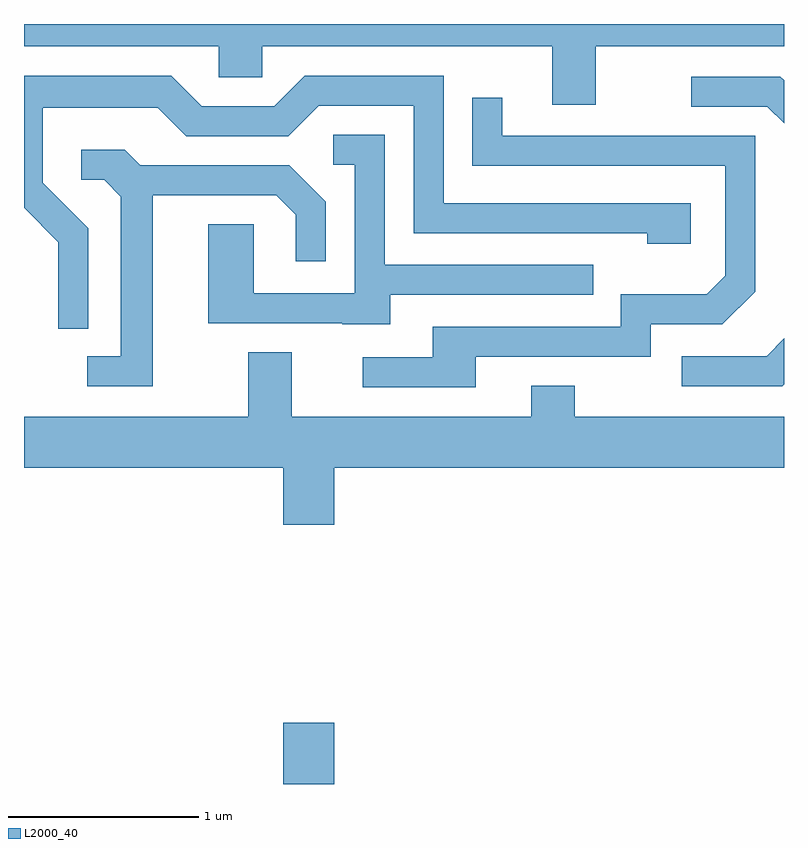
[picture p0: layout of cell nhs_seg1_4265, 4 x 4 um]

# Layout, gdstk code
import gdstk
lib = gdstk.Library(unit=1e-6, precision=1e-09)
def R(c, l, rs):  # rectangles x0, y0, x1, y1
    for r in rs: c.add(gdstk.rectangle(r[:2], r[2:], *l))
def P(c, l, *ps):  # polygons
    for p in ps: c.add(gdstk.Polygon(p, *l))
L2000_40 = (2000, 40)

nhs_seg1_4265 = lib.new_cell('nhs_seg1_4265')
R(nhs_seg1_4265, L2000_40, [(314.976,875.712,315.244,876.034)])
P(nhs_seg1_4265, L2000_40, [(316.619,879.596),(317.611,879.596),(317.611,879.712),(313.611,879.712),(313.611,879.596),(314.636,879.596),(314.636,879.431),(314.864,879.431),(314.864,879.596),(316.391,879.596),(316.391,879.286),(316.619,879.286)],
  [(313.949,878.637),(313.709,878.877),(313.709,879.271),(314.314,879.271),(314.464,879.121),(315.002,879.121),(315.162,879.281),(315.661,879.281),(315.661,878.611),(316.891,878.611),(316.891,878.556),(317.119,878.556),(317.119,878.769),(315.819,878.769),(315.819,879.439),(315.089,879.439),(314.929,879.279),(314.547,879.279),(314.387,879.439),(313.611,879.439),(313.611,878.744),(313.791,878.564),(313.791,878.108),(313.949,878.108)],
  [(317.611,879.415),(317.592,879.434),(317.123,879.434),(317.123,879.276),(317.524,879.276),(317.611,879.189)],
  [(315.989,877.961),(316.909,877.961),(316.909,878.131),(317.287,878.131),(317.459,878.304),(317.459,879.124),(316.129,879.124),(316.129,879.323),(315.971,879.323),(315.971,878.966),(317.301,878.966),(317.301,878.387),(317.204,878.289),(316.751,878.289),(316.751,878.119),(315.761,878.119),(315.761,877.959),(315.393,877.959),(315.393,877.801),(315.989,877.801)],
  [(315.539,878.286),(316.608,878.286),(316.608,878.444),(315.509,878.444),(315.509,879.129),(315.238,879.129),(315.238,878.971),(315.351,878.971),(315.351,878.294),(314.819,878.294),(314.819,878.659),(314.581,878.659),(314.581,878.136),(315.285,878.136),(315.285,878.131),(315.539,878.131)],
  [(314.289,878.811),(314.939,878.811),(315.041,878.709),(315.041,878.463),(315.199,878.463),(315.199,878.777),(315.007,878.969),(314.222,878.969),(314.142,879.049),(313.913,879.049),(313.913,878.891),(314.034,878.891),(314.121,878.804),(314.121,877.964),(313.943,877.964),(313.943,877.806),(314.289,877.806)],
  [(317.611,877.815),(317.611,878.057),(317.519,877.964),(317.073,877.964),(317.073,877.806),(317.602,877.806)],
  [(315.244,877.376),(317.611,877.376),(317.611,877.644),(316.509,877.644),(316.509,877.809),(316.281,877.809),(316.281,877.644),(315.019,877.644),(315.019,877.984),(314.791,877.984),(314.791,877.644),(313.611,877.644),(313.611,877.376),(314.976,877.376),(314.976,877.076),(315.244,877.076)])

lib.write_gds('nhs_seg1_4265.gds')
